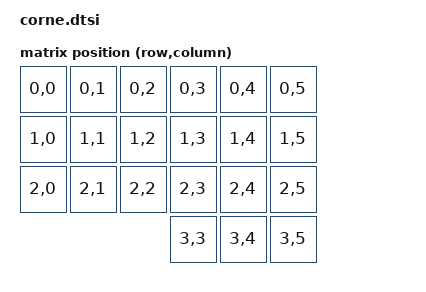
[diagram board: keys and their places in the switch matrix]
/*
 * Copyright (c) 2020 The ZMK Contributors
 *
 * SPDX-License-Identifier: MIT
 */

#include <dt-bindings/zmk/matrix_transform.h>

/ {

	chosen {
		zmk,kscan = &kscan0;
		zmk,matrix_transform = &default_transform;
	};

	default_transform: matrix_transform {
		compatible = "zmk,matrix-transform";
		columns = <6>;
		rows = <4>;
// | SW1  | SW2  | SW3  | SW4  | SW5  | SW6  |   | SW6  | SW5  | SW4  | SW3  | SW2  | SW1  |
// | SW7  | SW8  | SW9  | SW10 | SW11 | SW12 |   | SW12 | SW11 | SW10 | SW9  | SW8  | SW7  |
// | SW13 | SW14 | SW15 | SW16 | SW17 | SW18 |   | SW18 | SW17 | SW16 | SW15 | SW14 | SW13 |
//                      | SW19 | SW20 | SW21 |   | SW21 | SW20 | SW19 |
		map = <
RC(0,0) RC(0,1) RC(0,2) RC(0,3) RC(0,4) RC(0,5)
RC(1,0) RC(1,1) RC(1,2) RC(1,3) RC(1,4) RC(1,5)
RC(2,0) RC(2,1) RC(2,2) RC(2,3) RC(2,4) RC(2,5)
                        RC(3,3) RC(3,4) RC(3,5)
		>;
	};
};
